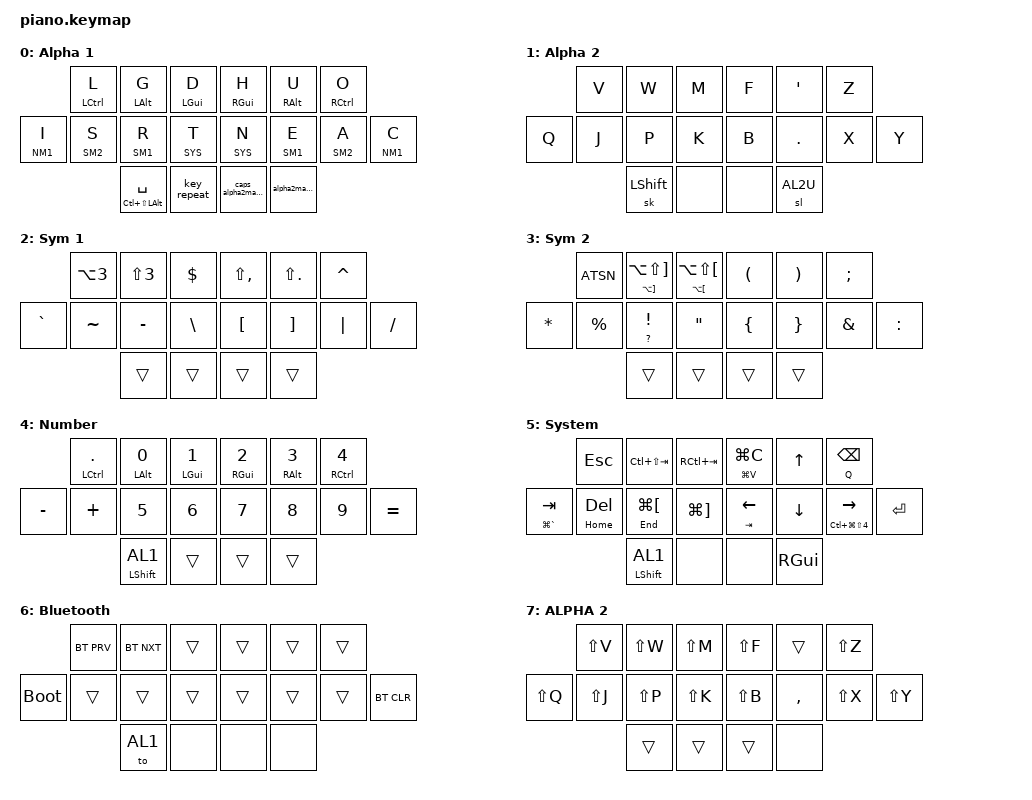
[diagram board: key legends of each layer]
/*
 * Copyright (c) 2020 The ZMK Contributors
 *
 * SPDX-License-Identifier: MIT
 */

#include <behaviors.dtsi>
#include <dt-bindings/zmk/keys.h>
#include <dt-bindings/zmk/bt.h>
#include <dt-bindings/zmk/mouse.h>



&mt {
    tapping-term-ms = <201>;
    flavor = "tap-preferred";
 };
&sk {
     release-after-ms = <2000>;
     quick-release;
 };
 
/* Layers */
#define AL1  0
#define AL2  1
#define SM1  2
#define SM2  3
#define NM1  4
#define SYS  5
#define BT   6
#define AL2U 7
/ { 
    combos {
        compatible = "zmk,combos";
        combo_sys {
            timeout-ms = <30>;
            key-positions = <3 4 5>;
            bindings = <&to SYS>;
        };
        combo_caps {
            timeout-ms = <30>;
            key-positions = <10 11 12>;
            bindings = <&caps_word>;
        };
        combo_bt  {
            timeout-ms = <10>;
            key-positions = <11 12>;
            bindings = <&to BT>;
            layers = <SM1>; 
        };
        lalt {
            timeout-ms = <20>;
            key-positions = <8 9>;
            bindings = <&kp LALT>; 
            layers = <SYS>; 
        };
        lclk {
            timeout-ms = <20>;
            key-positions = <10 11>;
            bindings = <&mkp LCLK>;
            layers = <SYS>;
        };
        rclk {
            timeout-ms = <20>;
            key-positions = <3 4>;
            bindings = <&mkp RCLK>;
            layers = <SYS>;
        };


    };

    behaviors {
        hm_l: homerow_mods_left {
            compatible = "zmk,behavior-hold-tap";
            label = "HOMEROW_MODS_L";
            #binding-cells = <2>;
            tapping-term-ms = <300>;
            quick-tap-ms = <250>;
            flavor = "tap-preferred";
            bindings = <&kp>, <&kp>;
        };
        hm_r: homerow_mods_right {
            compatible = "zmk,behavior-hold-tap";
            label = "HOMEROW_MODS_R";
            #binding-cells = <2>;
            tapping-term-ms = <300>;
            quick-tap-ms = <250>;
            flavor = "tap-preferred";
            bindings = <&kp>, <&kp>;
        };
        sr: shift_layer {
            compatible = "zmk,behavior-hold-tap";
            label = "SHIFT_LAYER";
            #binding-cells = <2>;
            tapping-term-ms = <300>;
            quick_tap_ms = <0>;
            flavor = "tap-preferred";
            bindings = <&kp>, <&to>;
            retro-tap;
        };
        hl_l: homerow_layers_left {
            compatible = "zmk,behavior-hold-tap";
            label = "HOMEROW_LAYERS_L";
            #binding-cells = <2>;
            tapping-term-ms = <220>;
            quick-tap-ms = <250>;
            flavor = "tap-preferred";
            bindings = <&mo>, <&kp>;
        };
        hl_r: homerow_layers_right {
            compatible = "zmk,behavior-hold-tap";
            label = "HOMEROW_LAYERS_R";
            #binding-cells = <2>;
            tapping-term-ms = <220>;
            quick-tap-ms = <250>;
            flavor = "tap-preferred";
            bindings = <&mo>, <&kp>;
        };
        td: tapdance {
            compatible = "zmk,behavior-hold-tap";
            label = "TAPDANCE";
            #binding-cells = <2>;
            tapping-term-ms = <190>;
            quick-tap-ms = <250>;
            flavor = "tap-preferred";
            bindings = <&kp>, <&kp>;
        };
        alpha2macro: behavior_macro_1 {
            compatible = "zmk,behavior-macro";
            label = "MACRO1";
            #binding-cells = <0>;
            bindings = < &sl AL2 >;
        };
        caps_alpha2macro: behavior_macro_2 {
            compatible = "zmk,behavior-macro";
            label = "MACRO2";
            #binding-cells = <0>;
            bindings = < &sl AL2U >;
        };
    };

//                                         0               1                2                   3              4             5
//                          6              7               8                9                  10             11            12               13
//                                                        14               15                  16             17        
    keymap {
        compatible = "zmk,keymap";
                
        alpha1 {
            label = "Alpha 1";
            bindings = <
                                      &hm_l LCTL L    &hm_l LALT G    &hm_l LGUI D         &hm_r RGUI H    &hm_r RALT U    &hm_r RCTL O      
                       &hl_l NM1 I    &hl_l SM2 S     &hl_l SM1 R     &hl_l SYS T          &hl_r SYS N     &hl_r SM1 E     &hl_r SM2 A     &hl_r NM1 C
                                                      &mt LC(LS(LALT)) SPC &key_repeat     &caps_alpha2macro    &alpha2macro         
            >;
        };

        alpha2 {
            label = "Alpha 2";
            bindings = <
                                      &kp V           &kp W           &kp M                &kp F           &kp SQT         &kp Z         
                       &kp Q          &kp J           &kp P           &kp K                &kp B           &kp DOT         &kp X           &kp Y 
                                                      &sk LSHIFT      &none                &none           &sl AL2U    
            >;
        };
        
        sym1 {
            label = "Sym 1";
            bindings = <
                                     &kp LA(N3)       &kp LS(N3)      &kp DLLR             &kp LS(COMMA)   &kp LS(DOT)     &kp CARET    
                       &kp GRAVE     &kp TILDE        &kp MINUS       &kp BSLH             &kp LBKT        &kp RBKT        &kp PIPE        &kp SLASH
                                                      &trans          &trans               &trans          &trans
            >;
        };

        sym2 {
            label = "Sym 2";
            bindings = <
                                     &kp ATSN  &td LA(RBKT) LA(LS(RBKT)) &td LA(LBKT) LA(LS(LBKT)) &kp LPRN &kp RPRN       &kp SEMI     
                       &kp STAR      &kp PRCNT        &td QMARK EXCL  &kp DQT              &kp LBRC        &kp RBRC        &kp AMPS        &kp COLON 
                                                      &trans          &trans               &trans          &trans         

            >;
        };

        num {
            label = "Number";
            bindings = <
                                     &hm_l LCTL DOT   &hm_l LALT N0   &hm_l LGUI N1        &hm_r RGUI N2   &hm_r RALT N3   &hm_r RCTL N4    
                       &kp MINUS     &kp PLUS         &kp N5          &kp N6               &kp N7          &kp N8          &kp N9         &kp EQUAL
                                                      &sr LSHIFT AL1  &trans               &trans          &trans       
            >;
        };

        sys {
            label = "System";
            bindings = <
                                     &kp ESC          &kp LC(LS(TAB))  &kp RC(TAB)         &td LG(V) LG(C) &kp UP          &td Q BKSP             
                       &td LG(GRAVE) TAB &td HOME DEL &td END LG(LBKT) &kp LG(RBKT)        &td TAB LEFT    &kp DOWN        &td LC(LG(LS(N4))) RIGHT  &kp RET 
                                                      &sr LSHIFT AL1   &none               &none           &kp RGUI        
            >;
        };

        bt {
            label = "Bluetooth";
            bindings = <
                                     &bt BT_PRV       &bt BT_NXT       &trans             &trans           &trans          &trans    
                       &bootloader   &trans           &trans           &trans             &trans           &trans          &trans         &bt BT_CLR
                                                      &to AL1          &none              &none            &none
            >;
        };

        alpha2cap {
            label = "ALPHA 2";
            bindings = <
                                     &kp LS(V)        &kp LS(W)        &kp LS(M)          &kp LS(F)        &trans          &kp LS(Z)    
                       &kp LS(Q)     &kp LS(J)        &kp LS(P)        &kp LS(K)          &kp LS(B)        &kp COMMA       &kp LS(X)      &kp LS(Y) 
                                                      &trans           &trans             &trans           &none
            >;
        };
    };
};
